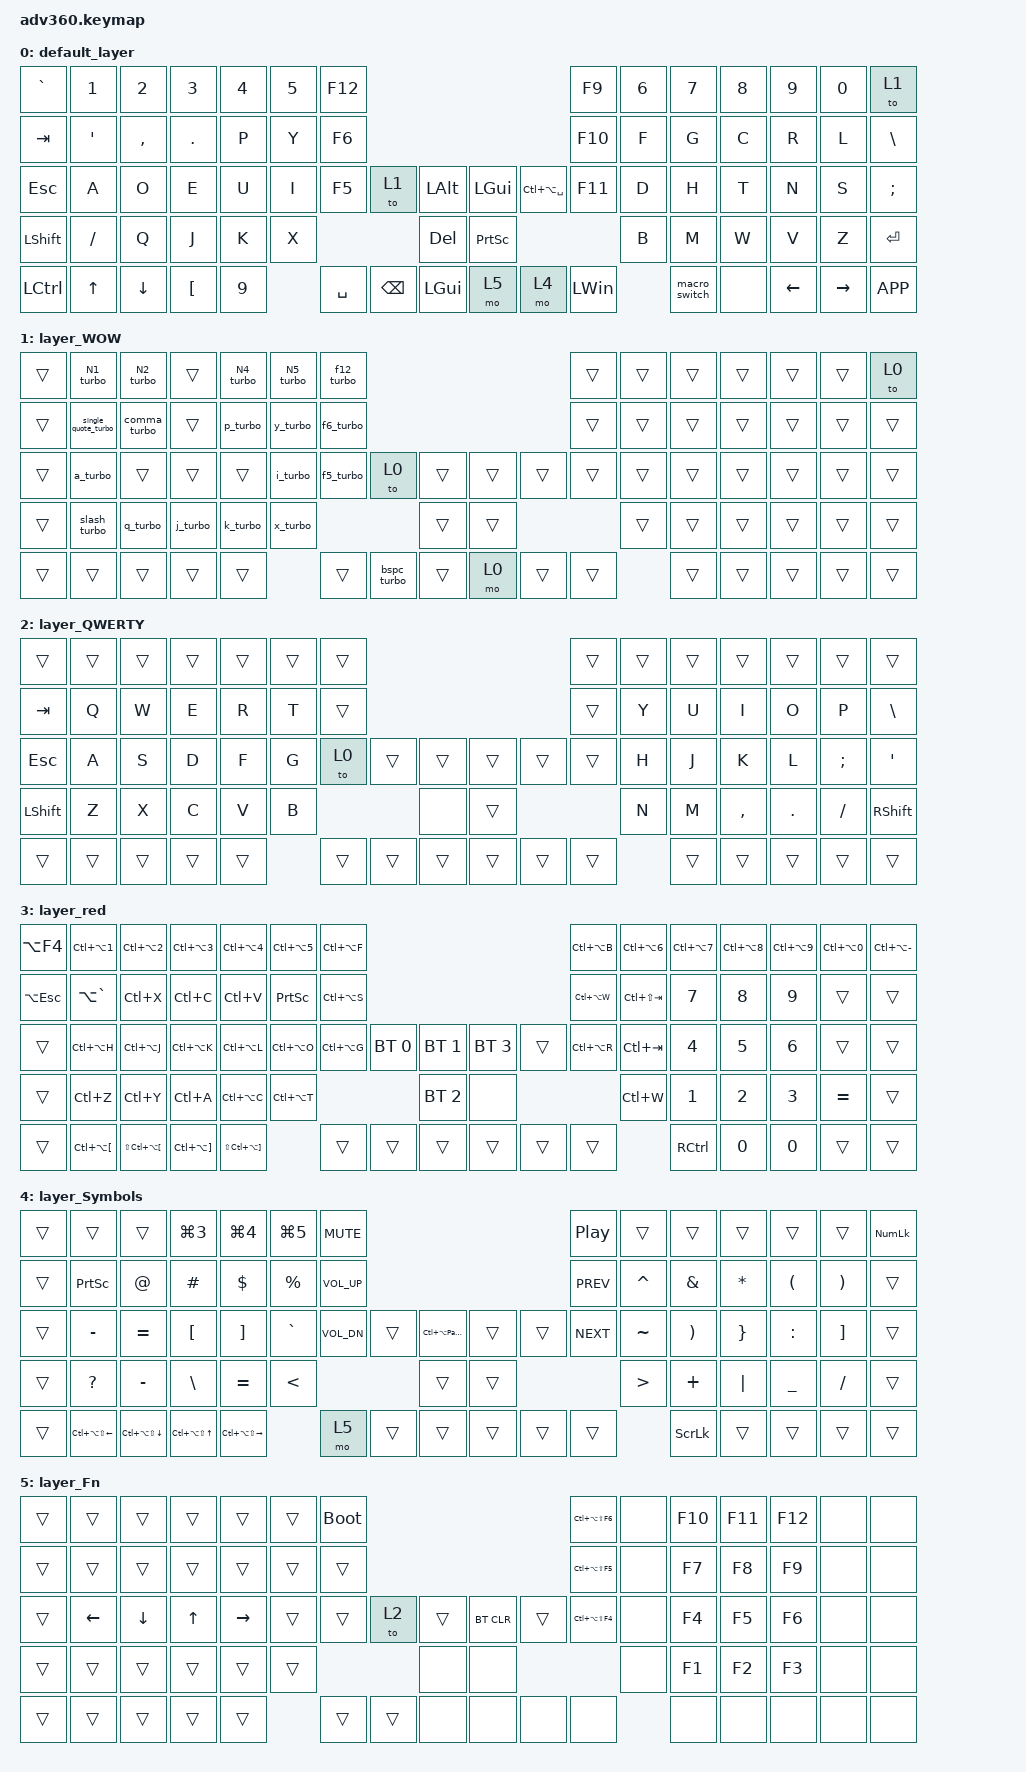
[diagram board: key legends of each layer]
/*
 * Copyright (c) 2020 The ZMK Contributors
 *
 * SPDX-License-Identifier: MIT
 */
/* THIS FILE WAS GENERATED!
 *
 * This file was generated automatically. You may or may not want to
 * edit it directly.
 */

#include <behaviors.dtsi>
#include <dt-bindings/zmk/bt.h>
#include <dt-bindings/zmk/keys.h>

/ {
    behaviors {
        #include "macros.dtsi"
    #include "turbos.dtsi"
    #include "version.dtsi"

        hm: homerow_mods {
            compatible = "zmk,behavior-hold-tap";
            label = "HOMEROW_MODS";
            #binding-cells = <2>;
            tapping-term-ms = <200>;
            quick_tap_ms = <175>;
            flavor = "tap-preferred";
            bindings = <&kp>, <&kp>;
        };
    };

    keymap {
        compatible = "zmk,keymap";

        default_layer {
            bindings = <
&kp GRAVE  &kp N1     &kp N2     &kp N3      &kp N4  &kp N5  &kp F12                                                                &kp F9    &kp N6  &kp N7         &kp N8  &kp N9    &kp N0     &to 1
&kp TAB    &kp SQT    &kp COMMA  &kp PERIOD  &kp P   &kp Y   &kp F6                                                                 &kp F10   &kp F   &kp G          &kp C   &kp R     &kp L      &kp BACKSLASH
&kp ESC    &kp A      &kp O      &kp E       &kp U   &kp I   &kp F5     &to 1     &kp LALT      &kp LGUI         &kp LC(LA(SPACE))  &kp F11   &kp D   &kp H          &kp T   &kp N     &kp S      &kp SEMICOLON
&kp LSHFT  &kp SLASH  &kp Q      &kp J       &kp K   &kp X                        &kp DEL       &kp PRINTSCREEN                               &kp B   &kp M          &kp W   &kp V     &kp Z      &kp ENTER
&kp LCTRL  &kp UP     &kp DOWN   &kp LBKT    &kp N9          &kp SPACE  &kp BSPC  &kp LGUI      &mo 5            &mo 4              &kp LWIN          &macro_switch  &none   &kp LEFT  &kp RIGHT  &kp K_APP
            >;
        };

        layer_WOW {
            bindings = <
&trans  &N1_turbo            &N2_turbo     &trans    &N4_turbo  &N5_turbo  &f12_turbo                                           &trans  &trans  &trans  &trans  &trans  &trans  &to 0
&trans  &single_quote_turbo  &comma_turbo  &trans    &p_turbo   &y_turbo   &f6_turbo                                            &trans  &trans  &trans  &trans  &trans  &trans  &trans
&trans  &a_turbo             &trans        &trans    &trans     &i_turbo   &f5_turbo   &to 0        &trans      &trans  &trans  &trans  &trans  &trans  &trans  &trans  &trans  &trans
&trans  &slash_turbo         &q_turbo      &j_turbo  &k_turbo   &x_turbo                            &trans      &trans                  &trans  &trans  &trans  &trans  &trans  &trans
&trans  &trans               &trans        &trans    &trans                &trans      &bspc_turbo  &trans      &mo 0   &trans  &trans          &trans  &trans  &trans  &trans  &trans
            >;
        };

        layer_QWERTY {
            bindings = <
&trans     &trans  &trans  &trans  &trans  &trans  &trans                                      &trans  &trans  &trans  &trans     &trans   &trans    &trans
&kp TAB    &kp Q   &kp W   &kp E   &kp R   &kp T   &trans                                      &trans  &kp Y   &kp U   &kp I      &kp O    &kp P     &kp BSLH
&kp ESC    &kp A   &kp S   &kp D   &kp F   &kp G   &to 0   &trans  &trans      &trans  &trans  &trans  &kp H   &kp J   &kp K      &kp L    &kp SEMI  &kp SQT
&kp LSHFT  &kp Z   &kp X   &kp C   &kp V   &kp B                   &none       &trans                  &kp N   &kp M   &kp COMMA  &kp DOT  &kp FSLH  &kp RSHFT
&trans     &trans  &trans  &trans  &trans          &trans  &trans  &trans      &trans  &trans  &trans          &trans  &trans     &trans   &trans    &trans
            >;
        };

        layer_red {
            bindings = <
&kp LA(F4)   &kp LC(LA(N1))    &kp LC(LA(N2))        &kp LC(LA(N3))    &kp LC(LA(N4))        &kp LC(LA(N5))  &kp LC(LA(F))                                                        &kp LC(LA(B))  &kp LC(LA(N6))   &kp LC(LA(N7))  &kp LC(LA(N8))  &kp LC(LA(N9))  &kp LC(LA(N0))  &kp LC(LA(MINUS))
&kp LA(ESC)  &kp LA(GRAVE)     &kp LC(X)             &kp LC(C)         &kp LC(V)             &kp PSCRN       &kp LC(LA(S))                                                        &kp LC(LA(W))  &kp LC(LS(TAB))  &kp N7          &kp N8          &kp N9          &trans          &trans
&trans       &kp LC(LA(H))     &kp LC(LA(J))         &kp LC(LA(K))     &kp LC(LA(L))         &kp LC(LA(O))   &kp LC(LA(G))  &bt BT_SEL 0  &bt BT_SEL 1      &bt BT_SEL 3  &trans  &kp LC(LA(R))  &kp LC(TAB)      &kp N4          &kp N5          &kp N6          &trans          &trans
&trans       &kp LC(Z)         &kp LC(Y)             &kp LC(A)         &kp LC(LA(C))         &kp LC(LA(T))                                &bt BT_SEL 2      &none                                &kp LC(W)        &kp N1          &kp N2          &kp N3          &kp EQUAL       &trans
&trans       &kp LC(LA(LBKT))  &kp LS(LC(LA(LBKT)))  &kp LC(LA(RBKT))  &kp LS(LC(LA(RBKT)))                  &trans         &trans        &trans            &trans        &trans  &trans                          &kp RCTRL       &kp N0          &kp N0          &trans          &trans
            >;
        };

        layer_Symbols {
            bindings = <
&trans  &trans                &trans                &kp LG(N3)          &kp LG(N4)             &kp LG(N5)  &kp C_MUTE                                                         &kp C_PLAY_PAUSE  &trans     &trans          &trans    &trans     &trans     &kp KP_NUMLOCK
&trans  &kp PRINTSCREEN       &kp AT                &kp HASH            &kp DLLR               &kp PRCNT   &kp C_VOL_UP                                                       &kp C_PREV        &kp CARET  &kp AMPS        &kp STAR  &kp LPAR   &kp RPAR   &trans
&trans  &kp MINUS             &kp EQUAL             &kp LEFT_BRACKET    &kp RIGHT_BRACKET      &kp GRAVE   &kp C_VOL_DN  &trans  &kp LC(LA(PAUSE_BREAK))      &trans  &trans  &kp C_NEXT        &kp TILDE  &kp RPAR        &kp RBRC  &kp COLON  &kp RBKT   &trans
&trans  &kp QMARK             &kp MINUS             &kp BSLH            &kp EQUAL              &kp LT                            &trans                       &trans                            &kp GT     &kp PLUS        &kp PIPE  &kp UNDER  &kp SLASH  &trans
&trans  &kp LC(LA(LS(LEFT)))  &kp LC(LA(LS(DOWN)))  &kp LC(LA(LS(UP)))  &kp LC(LA(LS(RIGHT)))              &mo 5         &trans  &trans                       &trans  &trans  &trans                       &kp SCROLLLOCK  &trans    &trans     &trans     &trans
            >;
        };

        layer_Fn {
            bindings = <
&trans  &trans    &trans    &trans  &trans     &trans  &bootloader                                          &kp LC(LA(LS(F6)))  &none  &kp F10  &kp F11  &kp F12  &none  &none
&trans  &trans    &trans    &trans  &trans     &trans  &trans                                               &kp LC(LA(LS(F5)))  &none  &kp F7   &kp F8   &kp F9   &none  &none
&trans  &kp LEFT  &kp DOWN  &kp UP  &kp RIGHT  &trans  &trans       &to 2   &trans      &bt BT_CLR  &trans  &kp LC(LA(LS(F4)))  &none  &kp F4   &kp F5   &kp F6   &none  &none
&trans  &trans    &trans    &trans  &trans     &trans                       &none       &none                                   &none  &kp F1   &kp F2   &kp F3   &none  &none
&trans  &trans    &trans    &trans  &trans             &trans       &trans  &none       &none       &none   &none                      &none    &none    &none    &none  &none
            >;
        };
    };
};
